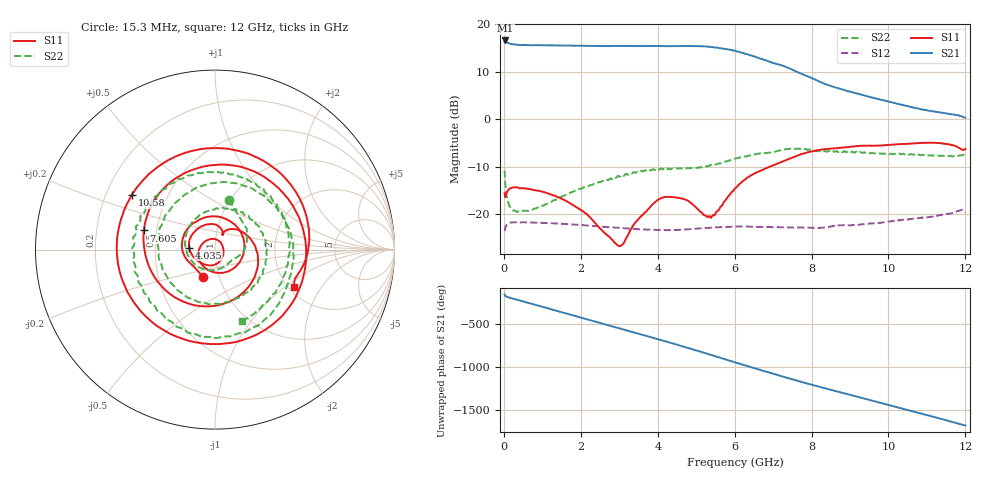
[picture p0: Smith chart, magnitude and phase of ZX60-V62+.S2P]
!Agilent Technologies,E5071C,MY46215201,A.10.06
!Date: Tue Jul 02 13:06:39 2019
!Data & Calibration Information:
!Freq	S11:SOLT2(ON)	S21:SOLT2(ON)	S12:SOLT2(ON)	S22:SOLT2(ON)
!PortZ  Port1:50+j0  Port2:50+j0
!Above PortZ is port z conversion or system Z0 setting when saving the data.
!When reading, reference impedance value at option line is always used.
# Hz S dB R 50
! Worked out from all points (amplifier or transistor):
!   800 points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, 15.3 MHz to 12 GHz, reference 50 ohm
!   highest |S21| = 16.6 dB at 30.3 MHz (marker M1)
!   |S21| within 3 dB of that: start of sweep to 6.355 GHz
!   unconditionally stable (mu >= 1): start of sweep to end of sweep
!   at 2.01 GHz: K = 1.26, MAG = 15.8 dB, |S12| = -22.3 dB
!   at 6.015 GHz: K = 1.27, MAG = 15.4 dB, |S12| = -22.6 dB
!   at 12 GHz: K = 2.75, MAG = 2.7 dB, |S12| = -19.6 dB
!   S11 on the Smith chart (normalised r, x): 15.3 MHz: 0.84, -0.26; 4.035 GHz: 0.75, +0.02; 7.605 GHz: 0.42, +0.11; 10.58 GHz: 0.31, +0.27; 12 GHz: 2.13, -1.17
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1.529962e7  -15.58 -113.5  16.32 -163.0  -23.56 21.7  -10.77 74.7
3.029925e7  -16.44 -138.1  16.61 -176.1  -22.93 11.6  -13.51 32.6
3.752906e8  -14.40 128.6  15.67 131.8  -21.72 -36.4  -19.45 -47.3
8.102798e8  -14.95 59.7  15.60 78.3  -21.76 -81.5  -18.80 -94.1
1.410265e9  -16.43 -34.8  15.55 3.4  -21.98 -143.2  -16.65 -157.2
2.025249e9  -19.27 -135.9  15.51 -73.1  -22.29 153.9  -14.59 143.4
2.430239e9  -22.41 152.3  15.44 -123.6  -22.55 112.5  -13.37 107.1
2.940226e9  -26.47 35.6  15.45 172.7  -22.85 60.8  -12.09 63.6
3.510212e9  -20.88 -103.0  15.43 100.7  -23.16 2.4  -11.11 16.1
4.0202e9  -16.90 177.4  15.43 35.6  -23.32 -50.1  -10.65 -32.9
4.035199e9  -16.85 175.7  15.43 33.8  -23.33 -51.8  -10.60 -35.1
4.485188e9  -16.47 120.2  15.43 -24.3  -23.32 -98.5  -10.31 -84.0
4.995175e9  -18.57 71.7  15.41 -91.9  -23.06 -153.7  -10.24 -148.6
5.520162e9  -19.57 63.7  15.12 -163.7  -22.77 146.6  -9.53 138.9
6.01515e9  -14.52 28.8  14.47 128.1  -22.60 88.4  -8.30 74.9
6.79513e9  -10.38 -76.6  12.46 23.3  -22.71 -4.5  -7.13 -10.1
7.60511e9  -7.74 164.9  10.04 -82.4  -22.81 -98.4  -6.23 -86.0
8.0101e9  -6.76 110.5  8.63 -132.5  -22.87 -144.5  -6.55 -122.7
9.015075e9  -5.79 -13.4  5.78 109.4  -22.34 103.6  -7.00 159.0
1.000505e10  -5.40 -139.9  3.73 -7.3  -21.56 -4.3  -7.30 87.0
1.057504e10  -5.12 146.8  2.59 -74.5  -21.02 -67.8  -7.37 45.1
1.2e10  -6.25 -25.4  0.33 115.3  -19.59 123.0  -7.50 -69.5
